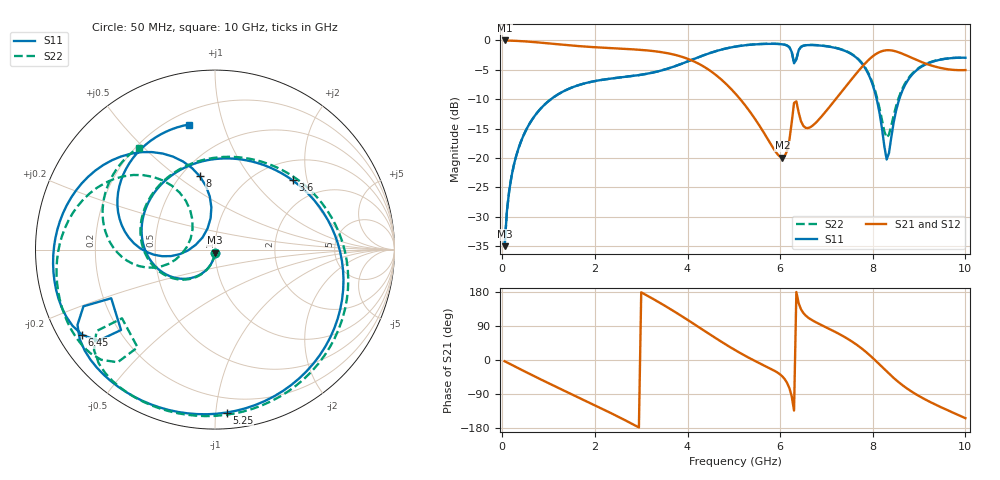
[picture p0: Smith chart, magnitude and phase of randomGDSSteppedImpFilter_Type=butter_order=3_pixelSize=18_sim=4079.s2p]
! freq	dB(S11)	phase(S11)	dB(S12)	phase(S12)
!  dB(S21)	phase(S21)	dB(S22)	phase(S22)
!S-par simulation data
#  GHz  S  DB  R 50
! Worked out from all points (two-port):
!   200 points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, 50 MHz to 10 GHz, reference 50 ohm
!   highest |S21| = -0.01 dB at 50 MHz (marker M1); lowest = -20.0 dB at 6.05 GHz (marker M2)
!   |S21| within 3 dB of the highest: start of sweep to 3.961 GHz; 7.953 GHz to 8.853 GHz (899.9 MHz wide, 10.7 % of centre)
!   lowest |S11| = -35.0 dB at 50 MHz (marker M3), VSWR 1.04, Z = 49.9 - j1.76 ohm
!   |S11| at or under -10 dB: start of sweep to 1.052 GHz; 8.084 GHz to 8.573 GHz (489.3 MHz wide, 5.87 % of centre)
!   |S22| runs from -35.0 to -0.6 dB; largest |S21 - S12| = 0
!   S11 on the Smith chart (normalised r, x): 50 MHz: 1.00, -0.04; 3.6 GHz: 1.41, +1.64; 5.25 GHz: 0.10, -1.07; 6.45 GHz: 0.07, -0.29; 8 GHz: 0.62, +0.61; 10 GHz: 0.27, +0.78
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0.05  -35.04 -93.2  -0.01 -3.2  -0.01 -3.2  -35.04 -93.1
0.2  -23.11 -102.9  -0.04 -12.6  -0.04 -12.6  -23.11 -102.5
0.5  -15.47 -122.1  -0.17 -31.2  -0.17 -31.2  -15.47 -121.1
1.1  -9.72 -158.8  -0.58 -67.2  -0.58 -67.2  -9.72 -156.7
1.75  -7.37 162.6  -1.02 -105.0  -1.02 -105.0  -7.38 166.3
2.65  -6.21 107.6  -1.44 -158.8  -1.44 -158.8  -6.21 113.7
3.4  -5.19 56.5  -1.96 151.1  -1.96 151.1  -5.19 64.4
3.6  -4.73 41.7  -2.23 136.6  -2.23 136.6  -4.73 50.0
4.35  -2.52 -17.3  -4.45 78.2  -4.45 78.2  -2.52 -8.6
5.05  -1.03 -71.7  -9.20 24.5  -9.20 24.5  -1.02 -62.7
5.25  -0.82 -85.9  -11.11 10.8  -11.11 10.8  -0.80 -76.8
6.05  -0.67 -138.5  -19.96 -43.6  -19.96 -43.6  -0.65 -128.0
6.3  -3.90 -154.9  -10.63 -133.4  -10.63 -133.4  -3.82 -143.5
6.45  -1.12 -147.3  -13.75 133.8  -13.75 133.8  -1.08 -135.9
6.7  -0.79 -165.9  -14.52 104.3  -14.52 104.3  -0.76 -153.6
7.55  -2.38 139.1  -6.55 48.8  -6.55 48.8  -2.33 155.7
8  -7.60 101.7  -2.70 5.3  -2.70 5.3  -7.35 124.0
8.35  -19.17 165.6  -1.67 -36.1  -1.67 -36.1  -16.03 174.8
8.55  -10.56 -172.9  -2.00 -57.7  -2.00 -57.7  -10.00 -162.6
8.8  -6.29 172.1  -2.82 -80.2  -2.82 -80.2  -6.11 -172.9
9.3  -3.60 140.5  -4.36 -114.5  -4.36 -114.5  -3.55 160.4
10  -2.95 101.7  -5.05 -153.5  -5.05 -153.5  -2.97 126.8
